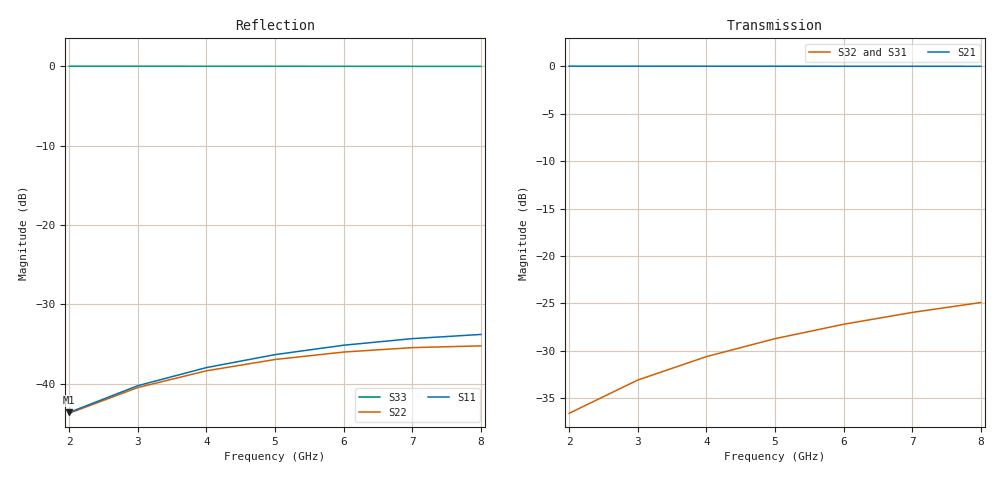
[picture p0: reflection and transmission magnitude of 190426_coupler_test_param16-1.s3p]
! Sonnet Data File
! From: emgraph Version : 16.56
! From Project: 190426_coupler_test
! Data is De-embedded
! Data File Written: 05/06/2019 15:59:44
!< HDATE 04/25/2019 10:48:44
!< MDATE 04/25/2019 10:59:35
!< PARAMS
!< tandelta = 0.0
!< t_aSi = 0.25
!< W = 10.0
!< Lcoupler = 1500.0
!< END PARAMS
# GHZ S MA R 50.0 !  non standard terminations in data
! TERM 50.00000 0.000000 50.00000 0.000000 63.84000 0.000000
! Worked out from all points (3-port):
!   7 points, 2 GHz to 8 GHz, reference 50 ohm
!   strongest paths, dB at 2 GHz, 3 GHz, 5 GHz, 7 GHz, 8 GHz:
!     S21: 0.0, 0.0, 0.0, 0.0, 0.0
!     S32: -36.6, -33.1, -28.7, -25.9, -24.9
!     S31: -36.6, -33.1, -28.8, -26.1, -25.1
!   lowest |S11| = -43.6 dB at 2 GHz (marker M1), VSWR 1.01, Z = 50.3 + j0.609 ohm
!   |S11| at or under -10 dB: start of sweep to end of sweep
2  0.006585 66.8  0.9999 -21.7  0.01481 56.5
   0.9999 -21.7  0.006505 71.6  0.01485 80.0
   0.01481 56.5  0.01485 80.0  0.9998 -22.1
3  0.00971 55.0  0.9997 -32.5  0.02211 39.8
   0.9997 -32.5  0.009453 62.5  0.02222 75.0
   0.02211 39.8  0.02222 75.0  0.9995 -33.2
4  0.01262 42.9  0.9995 -43.4  0.02929 23.0
   0.9995 -43.4  0.01205 53.4  0.02953 69.8
   0.02929 23.0  0.02953 69.8  0.9991 -44.3
5  0.01524 30.3  0.9992 -54.2  0.03629 6.2
   0.9992 -54.2  0.0142 44.5  0.03671 64.6
   0.03629 6.2  0.03671 64.6  0.9987 -55.4
6  0.01746 17.4  0.9989 -65.0  0.04308 -10.5
   0.9989 -65.0  0.01582 35.7  0.04371 59.4
   0.04308 -10.5  0.04371 59.4  0.9981 -66.6
7  0.01922 3.8  0.9986 -75.9  0.04962 -27.3
   0.9986 -75.9  0.01687 27.2  0.05047 54.0
   0.04962 -27.3  0.05047 54.0  0.9975 -77.8
8  0.02042 -10.4  0.9982 -86.7  0.05587 -44.1
   0.9982 -86.7  0.0173 19.0  0.05691 48.7
   0.05587 -44.1  0.05691 48.7  0.9968 -88.9
